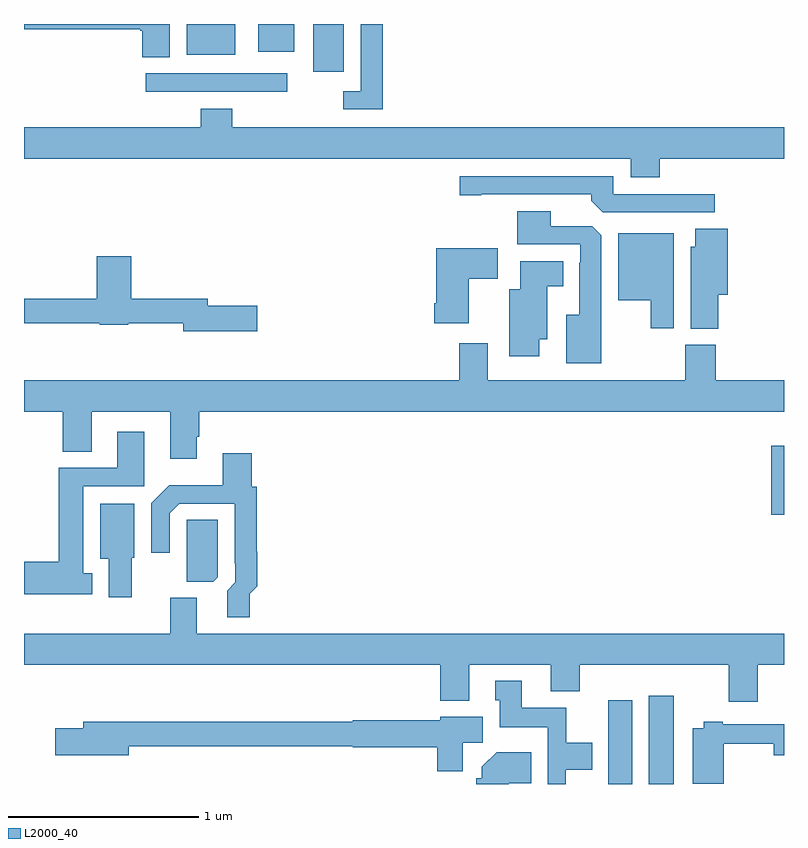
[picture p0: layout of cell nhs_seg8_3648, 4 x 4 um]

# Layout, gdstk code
import gdstk
lib = gdstk.Library(unit=1e-6, precision=1e-09)
def R(c, l, rs):  # rectangles x0, y0, x1, y1
    for r in rs: c.add(gdstk.rectangle(r[:2], r[2:], *l))
def P(c, l, *ps):  # polygons
    for p in ps: c.add(gdstk.Polygon(p, *l))
L2000_40 = (2000, 40)

nhs_seg8_3648 = lib.new_cell('nhs_seg8_3648')
R(nhs_seg8_3648, L2000_40, [(340.076,1087.9,340.201,1088.341), (340.289,1087.9,340.42,1088.365), (340.934,1089.318,341,1089.679), (337.641,1091.544,338.386,1091.64), (338.522,1091.649,338.683,1091.9), (337.856,1091.738,338.113,1091.9), (338.234,1091.753,338.422,1091.9)])
P(nhs_seg8_3648, L2000_40, [(337.768,1091.9),(337,1091.9),(337,1091.872),(337.613,1091.872),(337.613,1091.865),(337.622,1091.865),(337.622,1091.725),(337.768,1091.725)],
  [(338.888,1091.9),(338.772,1091.9),(338.772,1091.547),(338.679,1091.547),(338.679,1091.451),(338.888,1091.451)],
  [(340.346,1091.192),(341,1091.192),(341,1091.356),(338.096,1091.356),(338.096,1091.455),(337.931,1091.455),(337.931,1091.356),(337,1091.356),(337,1091.192),(340.193,1091.192),(340.193,1091.093),(340.346,1091.093)],
  [(340.636,1091.004),(340.101,1091.004),(340.101,1091.1),(339.294,1091.1),(339.294,1090.999),(339.406,1090.999),(339.406,1091.004),(339.986,1091.004),(339.986,1090.97),(340.047,1090.908),(340.636,1090.908)],
  [(340.039,1090.787),(339.99,1090.836),(339.772,1090.836),(339.772,1090.915),(339.596,1090.915),(339.596,1090.74),(339.927,1090.74),(339.927,1090.643),(339.923,1090.643),(339.923,1090.369),(339.854,1090.369),(339.854,1090.115),(340.039,1090.115)],
  [(340.655,1090.475),(340.703,1090.475),(340.703,1090.823),(340.532,1090.823),(340.532,1090.728),(340.508,1090.728),(340.508,1090.297),(340.655,1090.297)],
  [(340.42,1090.798),(340.127,1090.798),(340.127,1090.445),(340.298,1090.445),(340.298,1090.299),(340.42,1090.299)],
  [(339.34,1090.558),(339.493,1090.558),(339.493,1090.72),(339.17,1090.72),(339.17,1090.429),(339.158,1090.429),(339.158,1090.325),(339.34,1090.325)],
  [(338.227,1090.418),(337.966,1090.418),(337.966,1090.454),(337.565,1090.454),(337.565,1090.678),(337.382,1090.678),(337.382,1090.454),(337,1090.454),(337,1090.326),(337.398,1090.326),(337.398,1090.318),(337.548,1090.318),(337.548,1090.326),(337.838,1090.326),(337.838,1090.283),(338.227,1090.283)],
  [(339.712,1090.241),(339.754,1090.241),(339.754,1090.52),(339.838,1090.52),(339.838,1090.651),(339.611,1090.651),(339.611,1090.504),(339.554,1090.504),(339.554,1090.152),(339.712,1090.152)],
  [(337.909,1089.727),(337.922,1089.727),(337.922,1089.86),(341,1089.86),(341,1090.024),(340.64,1090.024),(340.64,1090.212),(340.48,1090.212),(340.48,1090.024),(339.442,1090.024),(339.442,1090.219),(339.29,1090.219),(339.29,1090.024),(337,1090.024),(337,1089.86),(337.205,1089.86),(337.205,1089.649),(337.357,1089.649),(337.357,1089.86),(337.769,1089.86),(337.769,1089.612),(337.909,1089.612)],
  [(337.36,1089.01),(337.312,1089.01),(337.312,1089.468),(337.633,1089.468),(337.633,1089.754),(337.49,1089.754),(337.49,1089.564),(337.183,1089.564),(337.183,1089.071),(337,1089.071),(337,1088.9),(337.36,1088.9)],
  [(338.189,1088.901),(338.228,1088.94),(338.228,1089.122),(338.225,1089.122),(338.225,1089.465),(338.198,1089.465),(338.198,1089.64),(338.045,1089.64),(338.045,1089.472),(337.765,1089.472),(337.671,1089.378),(337.671,1089.117),(337.767,1089.117),(337.767,1089.324),(337.818,1089.375),(338.109,1089.375),(338.109,1089.061),(338.112,1089.061),(338.112,1088.961),(338.069,1088.918),(338.069,1088.778),(338.189,1088.778)],
  [(337.567,1089.09),(337.579,1089.09),(337.579,1089.376),(337.4,1089.376),(337.4,1089.086),(337.445,1089.086),(337.445,1088.883),(337.567,1088.883)],
  [(338.019,1088.988),(338.019,1089.29),(337.857,1089.29),(337.857,1089.179),(337.856,1089.179),(337.856,1088.965),(337.995,1088.965)],
  [(340.862,1088.528),(341,1088.528),(341,1088.692),(337.909,1088.692),(337.909,1088.88),(337.769,1088.88),(337.769,1088.692),(337,1088.692),(337,1088.528),(339.191,1088.528),(339.191,1088.339),(339.343,1088.339),(339.343,1088.528),(339.773,1088.528),(339.773,1088.387),(339.926,1088.387),(339.926,1088.528),(340.709,1088.528),(340.709,1088.334),(340.862,1088.334)],
  [(339.852,1087.976),(339.991,1087.976),(339.991,1088.116),(339.855,1088.116),(339.855,1088.302),(339.619,1088.302),(339.619,1088.443),(339.479,1088.443),(339.479,1088.34),(339.503,1088.34),(339.503,1088.198),(339.756,1088.198),(339.756,1087.9),(339.852,1087.9)],
  [(339.309,1088.116),(339.415,1088.116),(339.415,1088.254),(339.192,1088.254),(339.192,1088.235),(338.73,1088.235),(338.73,1088.227),(337.313,1088.227),(337.313,1088.193),(337.164,1088.193),(337.164,1088.051),(337.552,1088.051),(337.552,1088.098),(338.73,1088.098),(338.73,1088.093),(339.176,1088.093),(339.176,1087.968),(339.309,1087.968)],
  [(340.682,1088.113),(340.946,1088.113),(340.946,1088.051),(341,1088.051),(341,1088.214),(340.678,1088.214),(340.678,1088.227),(340.578,1088.227),(340.578,1088.194),(340.52,1088.194),(340.52,1087.901),(340.682,1087.901)],
  [(339.55,1087.904),(339.671,1087.904),(339.671,1088.068),(339.488,1088.068),(339.41,1087.99),(339.41,1087.929),(339.381,1087.929),(339.381,1087.9),(339.55,1087.9)])

lib.write_gds('nhs_seg8_3648.gds')
